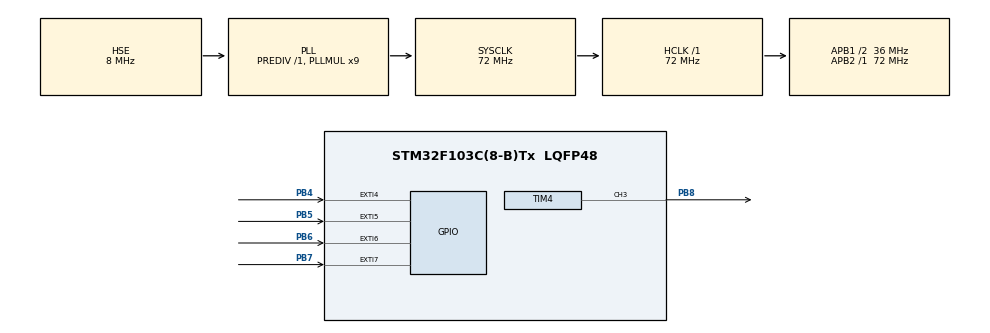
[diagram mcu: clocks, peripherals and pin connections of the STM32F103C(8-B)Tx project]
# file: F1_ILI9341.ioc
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Mcu.Family=STM32F1
Mcu.Name=STM32F103C(8-B)Tx
Mcu.Package=LQFP48
NVIC.EXTI4_IRQn=true\:0\:0\:false\:false\:true\:true\:true
NVIC.EXTI9_5_IRQn=true\:0\:0\:false\:false\:true\:true\:true
NVIC.PriorityGroup=NVIC_PRIORITYGROUP_4
PA13.Mode=Serial_Wire
PA13.Signal=SYS_JTMS-SWDIO
PA14.Mode=Serial_Wire
PA14.Signal=SYS_JTCK-SWCLK
PB4.Signal=GPXTI4
PB5.Signal=GPXTI5
PB6.Signal=GPXTI6
PB7.Signal=GPXTI7
PB8.Signal=S_TIM4_CH3
PD0-OSC_IN.Mode=HSE-External-Oscillator
PD0-OSC_IN.Signal=RCC_OSC_IN
PD1-OSC_OUT.Mode=HSE-External-Oscillator
PD1-OSC_OUT.Signal=RCC_OSC_OUT
ProjectManager.HeapSize=0x200
ProjectManager.StackSize=0x400
ProjectManager.TargetToolchain=STM32CubeIDE
RCC.AHBFreq_Value=72000000
RCC.APB1CLKDivider=RCC_HCLK_DIV2
RCC.APB1Freq_Value=36000000
RCC.APB1TimFreq_Value=72000000
RCC.APB2Freq_Value=72000000
RCC.APB2TimFreq_Value=72000000
RCC.HCLKFreq_Value=72000000
RCC.PLLMUL=RCC_PLL_MUL9
RCC.PLLSourceVirtual=RCC_PLLSOURCE_HSE
RCC.SYSCLKFreq_VALUE=72000000
RCC.SYSCLKSource=RCC_SYSCLKSOURCE_PLLCLK
RCC.USBFreq_Value=72000000
SH.S_TIM4_CH3.0=TIM4_CH3,PWM Generation3 CH3
TIM4.Channel-PWM\ Generation3\ CH3=TIM_CHANNEL_3
TIM4.Period=1000
TIM4.Prescaler=36
TIM4.Pulse-PWM\ Generation3\ CH3=500
VP_TIM4_VS_ClockSourceINT.Mode=Internal
board=custom

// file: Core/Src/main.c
/* USER CODE BEGIN Header */
/**
  ******************************************************************************
  * @file           : main.c
  * @brief          : Main program body
  ******************************************************************************
  * @attention
  *
  * <h2><center>&copy; Copyright (c) 2021 STMicroelectronics.
  * All rights reserved.</center></h2>
  *
  * This software component is licensed by ST under BSD 3-Clause license,
  * the "License"; You may not use this file except in compliance with the
  * License. You may obtain a copy of the License at:
  *                        opensource.org/licenses/BSD-3-Clause
  *
  ******************************************************************************
  */
/* USER CODE END Header */
#include "main.h"

/* USER CODE BEGIN Includes */
#include "ili9341.h"
#include "font_ubuntu_mono_24.h"
#include "controller.h"

/* USER CODE END Includes */

TIM_HandleTypeDef htim4;

/* USER CODE BEGIN PV */
uint32_t number;
char buffer[2];
char bufferNumber[3];
// extern char tanSo[10];
char bufferPulse[2];
extern uint16_t setNumber;
extern uint8_t setPulse;
uint8_t setPulseOLD;
extern uint16_t setTanSo;
uint32_t count = 10;
extern int encoderVal;
char bufferTest[3];
char bufferTest1[10];
char bufferTest2[10];
char bufferCheDoNumber[10];
extern uint32_t test1;
extern uint32_t test2;
extern uint32_t countTest;
extern Tan_so tan_so;
extern uint8_t cheDoNumber;
extern uint8_t isChangedBackground;

/* USER CODE END PV */

void SystemClock_Config(void);
static void MX_TIM4_Init(void);

/* USER CODE BEGIN 0 */

void createScreen()
{

  //kiem tra gia tri truoc do
  if(isChangedBackground == 0)
    return;
  isChangedBackground = 0;

  ili_fill_rect(40, 30, 200, 110, ILI_COLOR_DARKCYAN);

  //cap nhat mui ten
  switch (tan_so)
  {
  case PULSE_NUMBER:
    ili_draw_rectangle(80,60,5,50,ILI_COLOR_ORANGE);
    break;
  case PULSE_FRE:
  ili_draw_rectangle(120,60,5,50,ILI_COLOR_ORANGE);
    break;
  case PULSE_PULSE:
  ili_draw_rectangle(170,60,5,50,ILI_COLOR_ORANGE);
    break;

  default:
    break;
  }
  itoa(cheDoNumber, bufferCheDoNumber, 10);
  ili_draw_string_withbg(80, 40, bufferCheDoNumber, ILI_COLOR_WHITE, ILI_COLOR_BLUE, &font_ubuntu_mono_24);
  //thuc hien tao man hinh
  //hien so dau tien
  itoa(setNumber, bufferNumber, 10);
  ili_draw_string_withbg(70, 90, bufferNumber, ILI_COLOR_WHITE, ILI_COLOR_BLUE, &font_ubuntu_mono_24);
  // hien h khzfftoi
  ili_draw_string_withbg(110, 90, setTanSo == 0 ? "Hz" : "KHz", ILI_COLOR_WHITE, ILI_COLOR_BLUE, &font_ubuntu_mono_24);
  // hien % xung
  itoa(setPulse, bufferPulse, 10);
  ili_draw_string_withbg(160, 90, bufferPulse, ILI_COLOR_WHITE, ILI_COLOR_BLUE, &font_ubuntu_mono_24);
  ili_draw_string_withbg(200, 90, "%", ILI_COLOR_WHITE, ILI_COLOR_BLUE, &font_ubuntu_mono_24);

  itoa(countTest, bufferTest, 10);
  ili_draw_string_withbg(70, 110, bufferTest, ILI_COLOR_WHITE, ILI_COLOR_BLUE, &font_ubuntu_mono_24);

  itoa(test1, bufferTest1, 10);
  ili_draw_string_withbg(120, 110, bufferTest1, ILI_COLOR_WHITE, ILI_COLOR_BLUE, &font_ubuntu_mono_24);

  itoa(test2, bufferTest2, 10);
  ili_draw_string_withbg(170, 110, bufferTest2, ILI_COLOR_WHITE, ILI_COLOR_BLUE, &font_ubuntu_mono_24);

  HAL_Delay(50);
}

/* USER CODE END 0 */

int main(void)
{

  /* MCU Configuration--------------------------------------------------------*/

  /* Reset of all peripherals, Initializes the Flash interface and the Systick. */
  HAL_Init();

  /* Configure the system clock */
  SystemClock_Config();

  /* Initialize all configured peripherals */
  MX_TIM4_Init();
  /* USER CODE BEGIN 2 */
  ili_init();
  ili_rotate_display(3);
  ili_fill_screen(ILI_COLOR_DARKGREY);
  HAL_TIM_PWM_Start(&htim4, TIM_CHANNEL_3);

  /* USER CODE END 2 */

  /* Infinite loop */
  while (1)
  {

    /* USER CODE BEGIN 3 */

    createScreen();
    // count++;
    //  itoa(encoderVal, buffer, 10);
    //  ili_set_address_window(0,0,50,50);
    //  ili_fill_rect(0,0,100,100,ILI_COLOR_DARKCYAN);
    //  ili_draw_string_withbg(50, 40, buffer, ILI_COLOR_WHITE, ILI_COLOR_DARKGREEN, &font_ubuntu_mono_24);
    //ili_draw_pixel(20,20,ILI_COLOR_BLUE);
  }
  /* USER CODE END 3 */
}

void SystemClock_Config(void)
{
  RCC_OscInitTypeDef RCC_OscInitStruct = {0};
  RCC_ClkInitTypeDef RCC_ClkInitStruct = {0};

  /** Initializes the RCC Oscillators according to the specified parameters
  * in the RCC_OscInitTypeDef structure.
  */
  RCC_OscInitStruct.OscillatorType = RCC_OSCILLATORTYPE_HSE;
  RCC_OscInitStruct.HSEState = RCC_HSE_ON;
  RCC_OscInitStruct.HSEPredivValue = RCC_HSE_PREDIV_DIV1;
  RCC_OscInitStruct.HSIState = RCC_HSI_ON;
  RCC_OscInitStruct.PLL.PLLState = RCC_PLL_ON;
  RCC_OscInitStruct.PLL.PLLSource = RCC_PLLSOURCE_HSE;
  RCC_OscInitStruct.PLL.PLLMUL = RCC_PLL_MUL9;
  if (HAL_RCC_OscConfig(&RCC_OscInitStruct) != HAL_OK)
  {
    Error_Handler();
  }
  /** Initializes the CPU, AHB and APB buses clocks
  */
  RCC_ClkInitStruct.ClockType = RCC_CLOCKTYPE_HCLK | RCC_CLOCKTYPE_SYSCLK | RCC_CLOCKTYPE_PCLK1 | RCC_CLOCKTYPE_PCLK2;
  RCC_ClkInitStruct.SYSCLKSource = RCC_SYSCLKSOURCE_PLLCLK;
  RCC_ClkInitStruct.AHBCLKDivider = RCC_SYSCLK_DIV1;
  RCC_ClkInitStruct.APB1CLKDivider = RCC_HCLK_DIV2;
  RCC_ClkInitStruct.APB2CLKDivider = RCC_HCLK_DIV1;

  if (HAL_RCC_ClockConfig(&RCC_ClkInitStruct, FLASH_LATENCY_2) != HAL_OK)
  {
    Error_Handler();
  }
}

static void MX_TIM4_Init(void)
{

  TIM_ClockConfigTypeDef sClockSourceConfig = {0};
  TIM_MasterConfigTypeDef sMasterConfig = {0};
  TIM_OC_InitTypeDef sConfigOC = {0};

  htim4.Instance = TIM4;
  htim4.Init.Prescaler = 71;
  htim4.Init.CounterMode = TIM_COUNTERMODE_UP;
  htim4.Init.Period = 999;
  htim4.Init.ClockDivision = TIM_CLOCKDIVISION_DIV1;
  htim4.Init.AutoReloadPreload = TIM_AUTORELOAD_PRELOAD_DISABLE;
  if (HAL_TIM_Base_Init(&htim4) != HAL_OK)
  {
    Error_Handler();
  }
  sClockSourceConfig.ClockSource = TIM_CLOCKSOURCE_INTERNAL;
  if (HAL_TIM_ConfigClockSource(&htim4, &sClockSourceConfig) != HAL_OK)
  {
    Error_Handler();
  }
  if (HAL_TIM_PWM_Init(&htim4) != HAL_OK)
  {
    Error_Handler();
  }
  sMasterConfig.MasterOutputTrigger = TIM_TRGO_RESET;
  sMasterConfig.MasterSlaveMode = TIM_MASTERSLAVEMODE_DISABLE;
  if (HAL_TIMEx_MasterConfigSynchronization(&htim4, &sMasterConfig) != HAL_OK)
  {
    Error_Handler();
  }
  sConfigOC.OCMode = TIM_OCMODE_PWM1;
  sConfigOC.Pulse = 500;
  sConfigOC.OCPolarity = TIM_OCPOLARITY_HIGH;
  sConfigOC.OCFastMode = TIM_OCFAST_DISABLE;
  if (HAL_TIM_PWM_ConfigChannel(&htim4, &sConfigOC, TIM_CHANNEL_3) != HAL_OK)
  {
    Error_Handler();
  }
  HAL_TIM_MspPostInit(&htim4);
}

void Error_Handler(void)
{
  __disable_irq();
  while (1)
  {
  }
}

/************************ (C) COPYRIGHT STMicroelectronics *****END OF FILE****/
